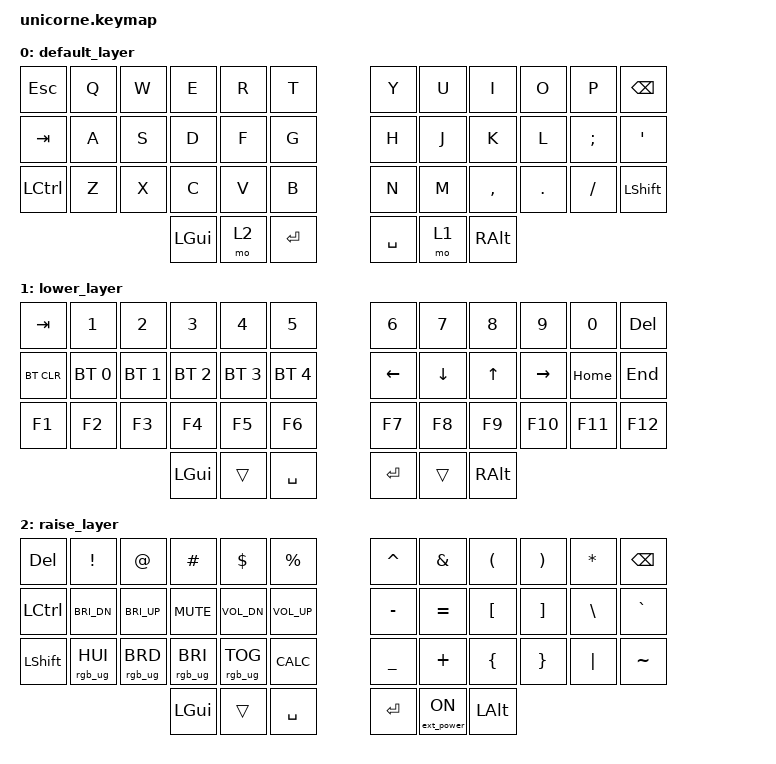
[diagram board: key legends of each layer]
#include <behaviors.dtsi>
#include <dt-bindings/zmk/keys.h>
#include <dt-bindings/zmk/bt.h>
#include <dt-bindings/zmk/rgb.h>
#include <dt-bindings/zmk/ext_power.h>

/ {
        keymap {
                compatible = "zmk,keymap";

                default_layer {
// -----------------------------------------------------------------------------------------
// |  ESC |  Q  |  W  |  E  |  R  |  T  |   |  Y  |  U   |  I  |  O  |  P  | BSPC |
// |  TAB |  A  |  S  |  D  |  F  |  G  |   |  H  |  J   |  K  |  L  |  ;  |  '   |
// | CTRL |  Z  |  X  |  C  |  V  |  B  |   |  N  |  M   |  ,  |  .  |  /  | SHFT |
//                    | GUI | RAISE | ENT |   | SPC | LOWER | RALT |
                        bindings = <
   &kp ESC &kp Q &kp W &kp E &kp R &kp T   &kp Y &kp U  &kp I     &kp O   &kp P    &kp BSPC
   &kp TAB &kp A &kp S &kp D &kp F &kp G   &kp H &kp J  &kp K     &kp L   &kp SEMI &kp SQT
   &kp LCTRL &kp Z &kp X &kp C &kp V &kp B   &kp N &kp M  &kp COMMA &kp DOT &kp FSLH &kp LSHIFT
                  &kp LGUI &mo 2 &kp RET &kp SPACE &mo 1 &kp RALT
                        >;
                };
                lower_layer {
// -----------------------------------------------------------------------------------------
// |  TAB |  1  |  2  |  3  |  4  |  5  |   |  6  |  7  |  8  |  9  |  0  | DEL  |
// | BTCLR| BT1 | BT2 | BT3 | BT4 | BT5 |   | LFT | DWN |  UP | RGT | HOME| END  |
// | F1   | F2  | F3  | F4  | F5  | F6  |   | F7  | F8  |  F9 | F10 | F11 | F12  |
//                    | GUI |     | SPC |   | ENT |     | RALT|
                        bindings = <
   &kp TAB    &kp N1       &kp N2       &kp N3       &kp N4       &kp N5         &kp N6   &kp N7   &kp N8 &kp N9    &kp N0  &kp DEL
   &bt BT_CLR &bt BT_SEL 0 &bt BT_SEL 1 &bt BT_SEL 2 &bt BT_SEL 3 &bt BT_SEL 4   &kp LEFT &kp DOWN &kp UP &kp RIGHT &kp HOME  &kp END
   &kp F1     &kp F2       &kp F3       &kp F4       &kp F5       &kp F6         &kp F7   &kp F8   &kp F9 &kp F10   &kp F11 &kp F12
                                    &kp LGUI     &trans       &kp SPACE      &kp RET  &trans   &kp RALT
                        >;
                };

                raise_layer {
// -----------------------------------------------------------------------------------------
// |  TAB   |   !    |   @    |   #    |   $    |   %    |   |   ^    |   &    |   (    |   )    |   *    |  BSPC  |
// |  CTRL  | BRI_DN | BRI_UP |  MUTE  | VOL_DN | VOL_UP |   |   -    |   =    |   [    |   ]    |   \    |   `    |
// |  SHFT  |  HUE   |  BR-   |  BR+   |  TOG   |  CALC  |   |   _    |   +    |   {    |   }    |  "|"   |   ~    |
//                            |  GUI   |        |  SPC   |   |   ENT  | VCC ON |  LALT  |
                        bindings = <
   &kp  DEL &kp EXCL &kp AT &kp HASH &kp DLLR &kp PRCNT                 &kp CARET &kp AMPS  &kp LPAR  &kp RPAR &kp ASTRK &kp BSPC
   &kp LCTRL &kp C_BRI_DN  &kp C_BRI_UP &kp C_MUTE   &kp C_VOL_DN   &kp C_VOL_UP    &kp MINUS &kp EQUAL &kp LBKT  &kp RBKT &kp BSLH  &kp GRAVE
   &kp LSHFT &rgb_ug RGB_HUI &rgb_ug RGB_BRD &rgb_ug RGB_BRI &rgb_ug RGB_TOG &kp K_CALC  &kp UNDER &kp PLUS  &kp LBRC  &kp RBRC &kp PIPE  &kp TILDE
                             &kp LGUI &trans   &kp SPACE                 &kp RET   &ext_power EP_ON &kp LALT
                        >;
                };
        };
};
